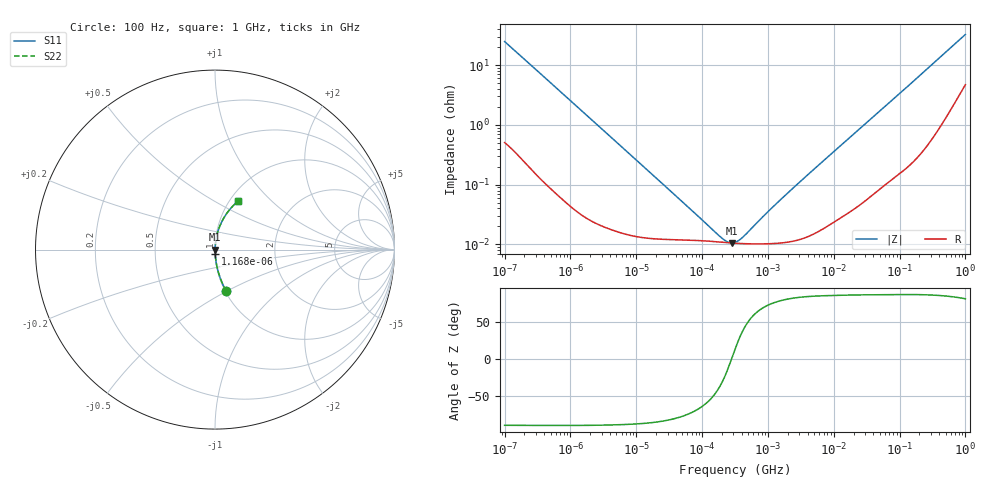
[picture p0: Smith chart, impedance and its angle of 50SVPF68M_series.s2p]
!  *** S-Parameter ***
!  Copyright (C) Panasonic Industry
!  Conductive Polymer Aluminum Soild Capacitor (OS-CON)
!  Parts No. 50SVPF68M
!  Connection Mode : Series
!  1  o---||---o  2
!  GND o--------o GND
!  Conditions : Temperature = 20 degC  DC Bias = 0 V
! Frequency Range : 100Hz  -  1GHz  [ 401 Steps ]
# Hz S RI R 50
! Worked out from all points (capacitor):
!   401 points, 100 Hz to 1 GHz, reference 50 ohm
!   read as one part in series: C = 63.7 uF near 108.4 Hz
!   lowest |Z| = 10.6 mohm at 280.2 kHz (marker M1)
!   series resonance near 278.7 kHz, so ESL is about 5.1 nH
!   S11 on the Smith chart (normalised r, x): 100 Hz: 1.01, -0.50; 1.168 kHz: 1.00, -0.04; 1 GHz: 1.09, +0.65
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100  0.0624 -0.2319  0.9376 0.2319  0.9376 0.2319  0.0624 -0.2319
108.3927  0.0541 -0.2162  0.9459 0.2162  0.9459 0.2162  0.0541 -0.2162
175.7924  0.0226 -0.1391  0.9774 0.1391  0.9774 0.1391  0.0226 -0.1391
296.8247  0.00865 -0.0842  0.9913 0.0842  0.9913 0.0842  0.00865 -0.0842
543.2503  0.00296 -0.0466  0.997 0.0466  0.997 0.0466  0.00296 -0.0466
1168.154  0.000854 -0.0219  0.9991 0.0219  0.9991 0.0219  0.000854 -0.0219
1487.647  0.000605 -0.0172  0.9994 0.0172  0.9994 0.0172  0.000605 -0.0172
22130.95  0.000124 -0.00117  0.9999 0.00117  0.9999 0.00117  0.000124 -0.00117
187283.7  0.00011 -7.98e-05  0.9999 7.98e-05  0.9999 7.98e-05  0.00011 -7.98e-05
238506.4  0.000107 -3.09e-05  0.9999 3.09e-05  0.9999 3.09e-05  0.000107 -3.09e-05
280220.6  0.000106 1.08e-06  0.9999 -1.08e-06  0.9999 -1.08e-06  0.000106 1.08e-06
316227.8  0.000105 2.53e-05  0.9999 -2.53e-05  0.9999 -2.53e-05  0.000105 2.53e-05
356861.7  0.000104 5.01e-05  0.9999 -5.01e-05  0.9999 -5.01e-05  0.000104 5.01e-05
419276  0.000103 8.47e-05  0.9999 -8.47e-05  0.9999 -8.47e-05  0.000103 8.47e-05
1195364  0.000104 0.000414  0.9999 -0.000414  0.9999 -0.000414  0.000104 0.000414
4704354  0.000148 0.0017  0.9999 -0.0017  0.9999 -0.0017  0.000148 0.0017
6.99842e7  0.00168 0.0235  0.9983 -0.0235  0.9983 -0.0235  0.00168 0.0235
1.504874e8  0.0047 0.0496  0.9953 -0.0496  0.9953 -0.0496  0.0047 0.0496
2.867477e8  0.0138 0.0928  0.9862 -0.0928  0.9862 -0.0928  0.0138 0.0928
5.688529e8  0.0481 0.1746  0.9519 -0.1746  0.9519 -0.1746  0.0481 0.1746
8.861352e8  0.105 0.2482  0.895 -0.2482  0.895 -0.2482  0.105 0.2482
1e9  0.1281 0.2691  0.8719 -0.2691  0.8719 -0.2691  0.1281 0.2691
